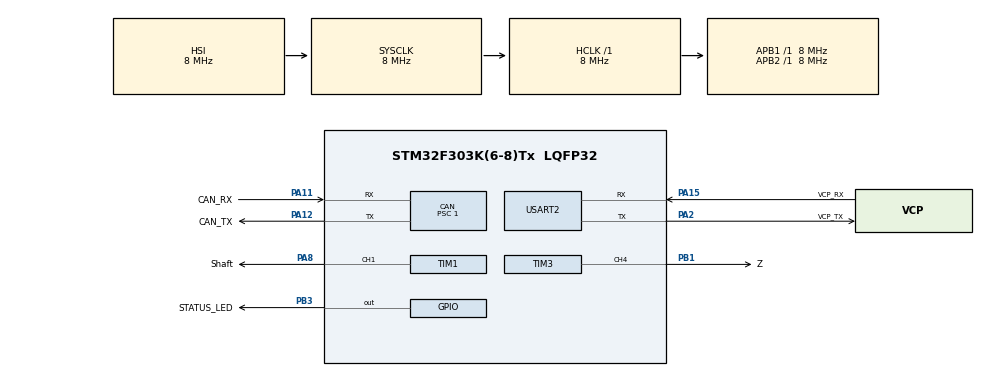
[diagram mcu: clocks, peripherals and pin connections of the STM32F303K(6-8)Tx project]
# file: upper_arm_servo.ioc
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CAN.BS1=CAN_BS1_6TQ
CAN.CalculateBaudRate=1000000
CAN.CalculateTimeBit=1000
CAN.CalculateTimeQuantum=125.0
CAN.Prescaler=1
Mcu.Family=STM32F3
Mcu.Name=STM32F303K(6-8)Tx
Mcu.Package=LQFP32
NVIC.CAN_RX0_IRQn=true\:0\:0\:false\:false\:true\:true\:true\:true
NVIC.PriorityGroup=NVIC_PRIORITYGROUP_4
PA11.GPIO_Label=CAN_RX
PA11.Mode=CAN_Activate
PA11.Signal=CAN_RX
PA12.GPIO_Label=CAN_TX
PA12.Mode=CAN_Activate
PA12.Signal=CAN_TX
PA13.GPIO_Label=SWDIO
PA13.Mode=Serial_Wire
PA13.Signal=SYS_JTMS-SWDIO
PA14.GPIO_Label=SWCLK
PA14.Mode=Serial_Wire
PA14.Signal=SYS_JTCK-SWCLK
PA15.GPIO_Label=VCP_RX
PA15.Mode=Asynchronous
PA15.Signal=USART2_RX
PA2.GPIO_Label=VCP_TX
PA2.Mode=Asynchronous
PA2.Signal=USART2_TX
PA8.GPIO_Label=Shaft
PA8.Signal=S_TIM1_CH1
PB1.GPIO_Label=Z
PB1.Signal=S_TIM3_CH4
PB3.GPIO_Label=STATUS_LED
PB3.Signal=GPIO_Output
PF0\ /\ OSC_IN.GPIO_Label=MCO
PF0\ /\ OSC_IN.Mode=HSE-External-Clock-Source
PF0\ /\ OSC_IN.Signal=RCC_OSC_IN
ProjectManager.HeapSize=0x200
ProjectManager.StackSize=0x400
ProjectManager.TargetToolchain=CMake
RCC.AHBFreq_Value=8000000
RCC.APB1Freq_Value=8000000
RCC.APB2Freq_Value=8000000
RCC.CortexFreq_Value=8000000
RCC.HSE_VALUE=8000000
RCC.HSI_VALUE=8000000
RCC.SYSCLKFreq_VALUE=8000000
SH.S_TIM1_CH1.0=TIM1_CH1,PWM Generation1 CH1
SH.S_TIM3_CH4.0=TIM3_CH4,PWM Generation4 CH4
TIM1.Channel-PWM\ Generation1\ CH1=TIM_CHANNEL_1
TIM1.Channel-PWM\ Generation2\ No\ Output=TIM_CHANNEL_2
TIM1.Period=20000-1
TIM1.Prescaler=8-1
TIM3.Channel-PWM\ Generation4\ CH4=TIM_CHANNEL_4
TIM3.Period=20000-1
TIM3.Prescaler=8-1
USART2.VirtualMode-Asynchronous=VM_ASYNC
VP_TIM1_VS_ClockSourceINT.Mode=Internal
VP_TIM1_VS_no_output2.Mode=PWM Generation2 No Output
VP_TIM3_VS_ClockSourceINT.Mode=Internal
board=NUCLEO-F303K8

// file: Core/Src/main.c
/* USER CODE BEGIN Header */
/**
  ******************************************************************************
  * @file           : main.c
  * @brief          : Main program body
  ******************************************************************************
  * @attention
  *
  * Copyright (c) 2026 STMicroelectronics.
  * All rights reserved.
  *
  * This software is licensed under terms that can be found in the LICENSE file
  * in the root directory of this software component.
  * If no LICENSE file comes with this software, it is provided AS-IS.
  *
  ******************************************************************************
  */
/* USER CODE END Header */
#include "main.h"

/* USER CODE BEGIN Includes */

#include "can_protocol.h"
#include "coordinate.h"
#include "arm.h"
#include "stm32f3xx_hal_gpio.h"
#include "stm_can.h"
#include <math.h>
#include <stdbool.h>
/* USER CODE END Includes */

/* USER CODE BEGIN PD */
#define SERVO_0   500
#define SERVO_270 2500

#define LOOP_MS 2

// 受信コマンドが可動域外でクランプされた場合は高速点滅に切り替えてエラーを知らせる
#define STATUS_LED_ERROR_BLINK_MS 100
/* USER CODE END PD */

CAN_HandleTypeDef hcan;

TIM_HandleTypeDef htim1;
TIM_HandleTypeDef htim3;

UART_HandleTypeDef huart2;

/* USER CODE BEGIN PV */

// 直近に受信したCAN_ID_UPPER_ARM_COMMANDでShaft/Zのパルス幅クランプが発生したか
// (CAN受信割り込みとmainループ双方から参照するのでvolatile)
static volatile bool range_error = false;

/* USER CODE END PV */

void SystemClock_Config(void);
static void MX_GPIO_Init(void);
static void MX_TIM1_Init(void);
static void MX_USART2_UART_Init(void);
static void MX_CAN_Init(void);
static void MX_TIM3_Init(void);

/* USER CODE BEGIN 0 */

/**
* @brief 計算したパルス幅を可動域(SERVO_0~SERVO_270)にクランプする．
*        クランプが発生した場合はout_of_rangeをtrueにする(falseへは戻さない)．
*/
static uint32_t clamp_servo_pulse(double pulse, bool *out_of_range){
  if(pulse < SERVO_0){
    *out_of_range = true;
    return SERVO_0;
  }
  if(pulse > SERVO_270){
    *out_of_range = true;
    return SERVO_270;
  }
  return (uint32_t)pulse;
}

/**
* @brief 座標から，Shaftサーボの目標角度(度，0~270度のうちSERVO角度と対応する値)を計算する．
*
*        Shaftは可動範囲270度のうち中央の180度(45~225度)だけを通常使用域とし，アームの
*        可動域(UPPER_ARM_DEG_MIN~UPPER_ARM_DEG_MIN+UPPER_ARM_DEG_RANGE)の中央
*        (=アームが真下向きの位置)がShaft使用域の中央(135度)に一致するよう，偏角から
*        オフセットを引くだけの単純な線形対応にする(fabs等で折り返さない)。
*        これによりアームの回転方向とShaftの回転方向が常に一致し，かつ計算式自体は
*        チームによらず共通になる(チーム差はarm.hのUPPER_ARM_HOME_COORDINATEが
*        可動域のどちら側の座標になるかにのみ現れる)。
*
*        赤チームのホーミング原点(UPPER_ARM_DEG_MIN=180度)ではサーボ45度，
*        青チームのホーミング原点(UPPER_ARM_DEG_MIN+RANGE=360度)ではサーボ225度になる。
*
*        360度=coordinate.hのto_polar()の値域[0,2π)では0度としてラップされるため，
*        偏角が0度付近で不連続にならないよう，UPPER_ARM_DEG_MIN未満の値には360度を
*        足してから使う。
*/
static double shaft_deg_from_arm_deg(direct_t direct){
  double deg = to_polar(direct).theta / (2 * M_PI) * 360.0;
  if(deg < UPPER_ARM_DEG_MIN) deg += 360.0;
  // アーム可動域の中央(真下向き)をShaft使用域の中央(135度)に合わせるオフセット
  return deg - (UPPER_ARM_DEG_MIN + UPPER_ARM_DEG_RANGE / 2.0) + 135.0;
}

/**
* @brief ホーミング原点(UPPER_ARM_HOME_COORDINATE，common/arm/inc/arm.h参照)に対応する
*        Shaftのパルス幅を計算する。
*        UPPER_ARM_HOME_COORDINATEをshaft_deg_from_arm_deg()に通すと，赤チームでは
*        サーボ45度，青チームではサーボ225度になる(=CAN_ID_UPPER_ARM_COMMAND
*        側の計算式で得られる値と同じ)。下アーム(shaft_home_pulse())と同様，ホーミング
*        開始時点からホーミング原点と同じ向きにしておくことで，ホーミング完了時に
*        ハンドの向きが変わらないようにする。
*/
static uint32_t shaft_home_pulse(){
  direct_t home = UPPER_ARM_HOME_COORDINATE;
  double shaft_theta = shaft_deg_from_arm_deg(home) * M_PI / 180.0;
  double shaft_pulse = shaft_theta * (SERVO_270 - SERVO_0) / (3 * M_PI_2) + SERVO_0;
  return (uint32_t)shaft_pulse;
}

void HAL_CAN_RxFifo0MsgPendingCallback(CAN_HandleTypeDef *hcan){
  can_data_t rx_data;
  CAN_RxHeaderTypeDef rx_header;
  if(hcan->Instance != CAN)return;
  if(HAL_CAN_GetRxMessage(hcan,CAN_RX_FIFO0,&rx_header,rx_data.raw) != HAL_OK)return;

  switch (rx_header.StdId) {
  case CAN_ID_UPPER_ARM_COMMAND: {
    direct_t direct = {.x = rx_data.upper_arm.x, .y = rx_data.upper_arm.y};
    // アームの偏角を，真下向き(270度)がShaft135度になるようオフセットした角度にして
    // そのままサーボへ反映する(shaft_deg_from_arm_deg()参照)。
    double shaft_deg = shaft_deg_from_arm_deg(direct);

    // shaft_rotate=1のとき，アーム軸の回転によらずハンドの向きを90度回転させる。
    // 270度サーボのうち普段使うのは可動範囲分の180度だけなので，回転方向側の残り90度分の
    // 余裕を超える(=可動範囲の反対側まで回転しきれない)場合は，下のclamp_servo_pulse()で
    // パルス幅がクランプされ，それ以上は回転しない(lower_arm_servoのShaftと同様，毎回サーボを
    // 取り替える運用はしない)。
    // 整理機構は赤/青チームで左右逆側に取り付けるため(arm.h参照)，余裕が生まれる側(=回転
    // させる方向)もチームで逆になる。青は+90度(高いパルス側に余裕)，赤は-90度(低いパルス側に
    // 余裕)とする。
#if ROBOT_TEAM == ROBOT_TEAM_BLUE
    if(rx_data.upper_arm.shaft_rotate){shaft_deg += 90.0;}
#else
    if(rx_data.upper_arm.shaft_rotate){shaft_deg -= 90.0;}
#endif
    // シャフト角度の微調整(度)。L/Rの押しっぱなしでESP32側が加減算した値をそのまま加える
    shaft_deg += rx_data.upper_arm.shaft_fine;

    double shaft_theta = shaft_deg * M_PI / 180.0;
    double shaft_pulse = shaft_theta * (SERVO_270 - SERVO_0) / (3 * M_PI_2) + SERVO_0;
    double z_pulse = rx_data.upper_arm.z * (SERVO_270 - SERVO_0) / (UPPER_ARM_Z_SERVO_GEAR_DIAMETER * 3 * M_PI_4) + SERVO_0;

    bool out_of_range = false;
    __HAL_TIM_SET_COMPARE(&Shaft_htim, Shaft_TIM_CHANNEL, clamp_servo_pulse(shaft_pulse, &out_of_range));
    __HAL_TIM_SET_COMPARE(&Z_htim, Z_TIM_CHANNEL, clamp_servo_pulse(z_pulse, &out_of_range));
    range_error = out_of_range;

    break;
  }

  case CAN_ID_UPPER_HOMING:
    // Zは現在位置を維持し，Shaftのみホーミング開始時点からホーミング原点の向きにしておく
    __HAL_TIM_SET_COMPARE(&Shaft_htim,Shaft_TIM_CHANNEL,shaft_home_pulse());
    break;

  default:
    break;
  }
}

/**
* @brief Status_LEDを周期的(mainループ毎)に呼び出して非ブロッキングに点滅させる．
*        正常時は点灯させたままにし，range_errorがtrueの間は
*        STATUS_LED_ERROR_BLINK_MS周期の高速点滅に切り替えてエラーを知らせる．
*/
void status_led_update(){
  static uint32_t last_toggle = 0;
  uint32_t now = HAL_GetTick();
  uint32_t interval = range_error ? STATUS_LED_ERROR_BLINK_MS : 0;
  if(interval == 0){
    HAL_GPIO_WritePin(STATUS_LED_GPIO_Port, STATUS_LED_Pin, GPIO_PIN_SET);
  }else if(now - last_toggle >= interval){
    last_toggle = now;
    HAL_GPIO_TogglePin(
        STATUS_LED_GPIO_Port,
        STATUS_LED_Pin
    );
  }
}
/* USER CODE END 0 */

int main(void)
{

  /* MCU Configuration--------------------------------------------------------*/

  /* Reset of all peripherals, Initializes the Flash interface and the Systick. */
  HAL_Init();

  /* Configure the system clock */
  SystemClock_Config();

  /* Initialize all configured peripherals */
  MX_GPIO_Init();
  MX_TIM1_Init();
  MX_USART2_UART_Init();
  MX_CAN_Init();
  MX_TIM3_Init();
  /* USER CODE BEGIN 2 */

  HAL_TIM_PWM_Start(&htim1, Shaft_TIM_CHANNEL);
  HAL_TIM_PWM_Start(&htim3, Z_TIM_CHANNEL);

  HAL_CAN_Start(&hcan);
  if (HAL_CAN_ActivateNotification(&hcan,CAN_IT_RX_FIFO0_MSG_PENDING) != HAL_OK) {
    Error_Handler();
  }
  /* USER CODE END 2 */

  /* Infinite loop */
  /* USER CODE BEGIN WHILE */
  uint32_t last_heartbeat = HAL_GetTick();
  while (1)
  {
    status_led_update();

    if(HAL_GetTick() - last_heartbeat > HEARTBEAT_MS){
      last_heartbeat = HAL_GetTick();
      stm_can_send(&hcan, &(can_command_data_t){.id = CAN_ID_UPPER_ARM_HEARTBEAT});
    }
    /* USER CODE END WHILE */

    HAL_Delay(LOOP_MS);
  }
}

void SystemClock_Config(void)
{
  RCC_OscInitTypeDef RCC_OscInitStruct = {0};
  RCC_ClkInitTypeDef RCC_ClkInitStruct = {0};
  RCC_PeriphCLKInitTypeDef PeriphClkInit = {0};

  /** Initializes the RCC Oscillators according to the specified parameters
  * in the RCC_OscInitTypeDef structure.
  */
  RCC_OscInitStruct.OscillatorType = RCC_OSCILLATORTYPE_HSI;
  RCC_OscInitStruct.HSIState = RCC_HSI_ON;
  RCC_OscInitStruct.HSICalibrationValue = RCC_HSICALIBRATION_DEFAULT;
  RCC_OscInitStruct.PLL.PLLState = RCC_PLL_NONE;
  if (HAL_RCC_OscConfig(&RCC_OscInitStruct) != HAL_OK)
  {
    Error_Handler();
  }

  /** Initializes the CPU, AHB and APB buses clocks
  */
  RCC_ClkInitStruct.ClockType = RCC_CLOCKTYPE_HCLK|RCC_CLOCKTYPE_SYSCLK
                              |RCC_CLOCKTYPE_PCLK1|RCC_CLOCKTYPE_PCLK2;
  RCC_ClkInitStruct.SYSCLKSource = RCC_SYSCLKSOURCE_HSI;
  RCC_ClkInitStruct.AHBCLKDivider = RCC_SYSCLK_DIV1;
  RCC_ClkInitStruct.APB1CLKDivider = RCC_HCLK_DIV1;
  RCC_ClkInitStruct.APB2CLKDivider = RCC_HCLK_DIV1;

  if (HAL_RCC_ClockConfig(&RCC_ClkInitStruct, FLASH_LATENCY_0) != HAL_OK)
  {
    Error_Handler();
  }
  PeriphClkInit.PeriphClockSelection = RCC_PERIPHCLK_TIM1;
  PeriphClkInit.Tim1ClockSelection = RCC_TIM1CLK_HCLK;
  if (HAL_RCCEx_PeriphCLKConfig(&PeriphClkInit) != HAL_OK)
  {
    Error_Handler();
  }
}

static void MX_CAN_Init(void)
{

  hcan.Instance = CAN;
  hcan.Init.Prescaler = 1;
  hcan.Init.Mode = CAN_MODE_NORMAL;
  hcan.Init.SyncJumpWidth = CAN_SJW_1TQ;
  hcan.Init.TimeSeg1 = CAN_BS1_6TQ;
  hcan.Init.TimeSeg2 = CAN_BS2_1TQ;
  hcan.Init.TimeTriggeredMode = DISABLE;
  hcan.Init.AutoBusOff = DISABLE;
  hcan.Init.AutoWakeUp = DISABLE;
  hcan.Init.AutoRetransmission = DISABLE;
  hcan.Init.ReceiveFifoLocked = DISABLE;
  hcan.Init.TransmitFifoPriority = DISABLE;
  if (HAL_CAN_Init(&hcan) != HAL_OK)
  {
    Error_Handler();
  }
  /* USER CODE BEGIN CAN_Init 2 */

  CAN_FilterTypeDef filter;

  filter.FilterBank = 0;
  filter.FilterMode = CAN_FILTERMODE_IDMASK;
  filter.FilterScale = CAN_FILTERSCALE_32BIT;

  /* 受信IDフィルター　全受信 */
  filter.FilterIdHigh = 0x0000;
  filter.FilterIdLow = 0x0000;
  filter.FilterMaskIdHigh = 0x0000;
  filter.FilterMaskIdLow = 0x0000;

  filter.FilterFIFOAssignment = CAN_RX_FIFO0; //fifo(first-in first-out) = Queue
  filter.FilterActivation = ENABLE;

  if (HAL_CAN_ConfigFilter(&hcan, &filter) != HAL_OK) {
      Error_Handler();
  }
  /* USER CODE END CAN_Init 2 */

}

static void MX_TIM1_Init(void)
{

  TIM_ClockConfigTypeDef sClockSourceConfig = {0};
  TIM_MasterConfigTypeDef sMasterConfig = {0};
  TIM_OC_InitTypeDef sConfigOC = {0};
  TIM_BreakDeadTimeConfigTypeDef sBreakDeadTimeConfig = {0};

  htim1.Instance = TIM1;
  htim1.Init.Prescaler = 8-1;
  htim1.Init.CounterMode = TIM_COUNTERMODE_UP;
  htim1.Init.Period = 20000-1;
  htim1.Init.ClockDivision = TIM_CLOCKDIVISION_DIV1;
  htim1.Init.RepetitionCounter = 0;
  htim1.Init.AutoReloadPreload = TIM_AUTORELOAD_PRELOAD_DISABLE;
  if (HAL_TIM_Base_Init(&htim1) != HAL_OK)
  {
    Error_Handler();
  }
  sClockSourceConfig.ClockSource = TIM_CLOCKSOURCE_INTERNAL;
  if (HAL_TIM_ConfigClockSource(&htim1, &sClockSourceConfig) != HAL_OK)
  {
    Error_Handler();
  }
  if (HAL_TIM_PWM_Init(&htim1) != HAL_OK)
  {
    Error_Handler();
  }
  sMasterConfig.MasterOutputTrigger = TIM_TRGO_RESET;
  sMasterConfig.MasterOutputTrigger2 = TIM_TRGO2_RESET;
  sMasterConfig.MasterSlaveMode = TIM_MASTERSLAVEMODE_DISABLE;
  if (HAL_TIMEx_MasterConfigSynchronization(&htim1, &sMasterConfig) != HAL_OK)
  {
    Error_Handler();
  }
  sConfigOC.OCMode = TIM_OCMODE_PWM1;
  sConfigOC.Pulse = 0;
  sConfigOC.OCPolarity = TIM_OCPOLARITY_HIGH;
  sConfigOC.OCNPolarity = TIM_OCNPOLARITY_HIGH;
  sConfigOC.OCFastMode = TIM_OCFAST_DISABLE;
  sConfigOC.OCIdleState = TIM_OCIDLESTATE_RESET;
  sConfigOC.OCNIdleState = TIM_OCNIDLESTATE_RESET;
  if (HAL_TIM_PWM_ConfigChannel(&htim1, &sConfigOC, TIM_CHANNEL_1) != HAL_OK)
  {
    Error_Handler();
  }
  if (HAL_TIM_PWM_ConfigChannel(&htim1, &sConfigOC, TIM_CHANNEL_2) != HAL_OK)
  {
    Error_Handler();
  }
  sBreakDeadTimeConfig.OffStateRunMode = TIM_OSSR_DISABLE;
  sBreakDeadTimeConfig.OffStateIDLEMode = TIM_OSSI_DISABLE;
  sBreakDeadTimeConfig.LockLevel = TIM_LOCKLEVEL_OFF;
  sBreakDeadTimeConfig.DeadTime = 0;
  sBreakDeadTimeConfig.BreakState = TIM_BREAK_DISABLE;
  sBreakDeadTimeConfig.BreakPolarity = TIM_BREAKPOLARITY_HIGH;
  sBreakDeadTimeConfig.BreakFilter = 0;
  sBreakDeadTimeConfig.Break2State = TIM_BREAK2_DISABLE;
  sBreakDeadTimeConfig.Break2Polarity = TIM_BREAK2POLARITY_HIGH;
  sBreakDeadTimeConfig.Break2Filter = 0;
  sBreakDeadTimeConfig.AutomaticOutput = TIM_AUTOMATICOUTPUT_DISABLE;
  if (HAL_TIMEx_ConfigBreakDeadTime(&htim1, &sBreakDeadTimeConfig) != HAL_OK)
  {
    Error_Handler();
  }
  HAL_TIM_MspPostInit(&htim1);

}

static void MX_TIM3_Init(void)
{

  TIM_ClockConfigTypeDef sClockSourceConfig = {0};
  TIM_MasterConfigTypeDef sMasterConfig = {0};
  TIM_OC_InitTypeDef sConfigOC = {0};

  htim3.Instance = TIM3;
  htim3.Init.Prescaler = 8-1;
  htim3.Init.CounterMode = TIM_COUNTERMODE_UP;
  htim3.Init.Period = 20000-1;
  htim3.Init.ClockDivision = TIM_CLOCKDIVISION_DIV1;
  htim3.Init.AutoReloadPreload = TIM_AUTORELOAD_PRELOAD_DISABLE;
  if (HAL_TIM_Base_Init(&htim3) != HAL_OK)
  {
    Error_Handler();
  }
  sClockSourceConfig.ClockSource = TIM_CLOCKSOURCE_INTERNAL;
  if (HAL_TIM_ConfigClockSource(&htim3, &sClockSourceConfig) != HAL_OK)
  {
    Error_Handler();
  }
  if (HAL_TIM_PWM_Init(&htim3) != HAL_OK)
  {
    Error_Handler();
  }
  sMasterConfig.MasterOutputTrigger = TIM_TRGO_RESET;
  sMasterConfig.MasterSlaveMode = TIM_MASTERSLAVEMODE_DISABLE;
  if (HAL_TIMEx_MasterConfigSynchronization(&htim3, &sMasterConfig) != HAL_OK)
  {
    Error_Handler();
  }
  sConfigOC.OCMode = TIM_OCMODE_PWM1;
  sConfigOC.Pulse = 0;
  sConfigOC.OCPolarity = TIM_OCPOLARITY_HIGH;
  sConfigOC.OCFastMode = TIM_OCFAST_DISABLE;
  if (HAL_TIM_PWM_ConfigChannel(&htim3, &sConfigOC, TIM_CHANNEL_4) != HAL_OK)
  {
    Error_Handler();
  }
  HAL_TIM_MspPostInit(&htim3);

}

static void MX_USART2_UART_Init(void)
{

  huart2.Instance = USART2;
  huart2.Init.BaudRate = 38400;
  huart2.Init.WordLength = UART_WORDLENGTH_8B;
  huart2.Init.StopBits = UART_STOPBITS_1;
  huart2.Init.Parity = UART_PARITY_NONE;
  huart2.Init.Mode = UART_MODE_TX_RX;
  huart2.Init.HwFlowCtl = UART_HWCONTROL_NONE;
  huart2.Init.OverSampling = UART_OVERSAMPLING_16;
  huart2.Init.OneBitSampling = UART_ONE_BIT_SAMPLE_DISABLE;
  huart2.AdvancedInit.AdvFeatureInit = UART_ADVFEATURE_NO_INIT;
  if (HAL_UART_Init(&huart2) != HAL_OK)
  {
    Error_Handler();
  }

}

static void MX_GPIO_Init(void)
{
  GPIO_InitTypeDef GPIO_InitStruct = {0};

  /* GPIO Ports Clock Enable */
  __HAL_RCC_GPIOF_CLK_ENABLE();
  __HAL_RCC_GPIOA_CLK_ENABLE();
  __HAL_RCC_GPIOB_CLK_ENABLE();

  /*Configure GPIO pin Output Level */
  HAL_GPIO_WritePin(STATUS_LED_GPIO_Port, STATUS_LED_Pin, GPIO_PIN_RESET);

  /*Configure GPIO pin : STATUS_LED_Pin */
  GPIO_InitStruct.Pin = STATUS_LED_Pin;
  GPIO_InitStruct.Mode = GPIO_MODE_OUTPUT_PP;
  GPIO_InitStruct.Pull = GPIO_NOPULL;
  GPIO_InitStruct.Speed = GPIO_SPEED_FREQ_LOW;
  HAL_GPIO_Init(STATUS_LED_GPIO_Port, &GPIO_InitStruct);

}

void Error_Handler(void)
{
  /* USER CODE BEGIN Error_Handler_Debug */
  /* User can add his own implementation to report the HAL error return state */
  __disable_irq();
  while (1)
  {
    HAL_GPIO_TogglePin(
    STATUS_LED_GPIO_Port,
    STATUS_LED_Pin
    );
    HAL_Delay(1000);
  }
  /* USER CODE END Error_Handler_Debug */
}
